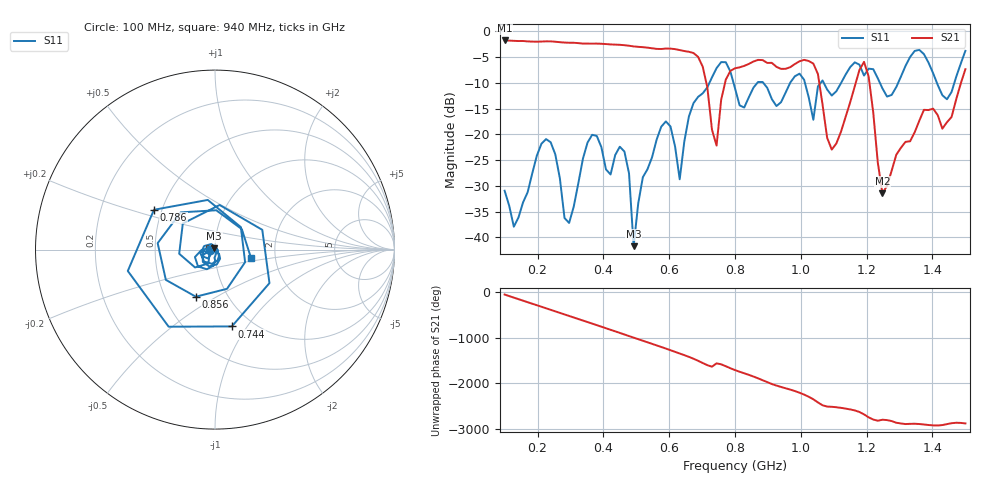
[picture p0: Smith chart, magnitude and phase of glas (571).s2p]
! NanoVNA-App
! Date: 2025-09-25 15:59:55
! Start: 100MHz Stop: 1,5GHz Points: 101
! S-Parameter data: F S11 S21 S12 S22
# Hz S RI R 50
!  Frequency  S11_Real  S11_Imag  S21_Real  S21_Imag  S12_Real  S12_Imag  S22_Real  S22_Imag
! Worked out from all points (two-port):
!   101 points, 100 MHz to 1.5 GHz, reference 50 ohm
!   highest |S21| = -1.80 dB at 100 MHz (marker M1); lowest = -31.5 dB at 1.248 GHz (marker M2)
!   |S21| within 3 dB of the highest: start of sweep to 684.4 MHz
!   lowest |S11| = -41.7 dB at 492 MHz (marker M3), VSWR 1.02, Z = 49.5 + j0.633 ohm
!   |S11| at or under -10 dB: start of sweep to 722.5 MHz; 795.4 MHz to 868.1 MHz (72.74 MHz wide, 8.75 % of centre); 885.8 MHz to 967.7 MHz (81.98 MHz wide, 8.85 % of centre) (the widest 3 of 7)
!   S12 and S22 are empty: the file has one direction only
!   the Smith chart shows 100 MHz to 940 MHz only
!   S11 on the Smith chart (normalised r, x): 100 MHz: 0.95, -0.01; 744 MHz: 0.80, -0.85; 786 MHz: 0.45, +0.24; 856 MHz: 0.71, -0.41; 940 MHz: 1.49, -0.14
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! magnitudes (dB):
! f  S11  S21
! 100 MHz  -30.9  -1.8
! 128 MHz  -37.9  -1.9
! 226 MHz  -20.9  -2.0
! 296 MHz  -37.2  -2.2
! 338 MHz  -24.7  -2.4
! 464 MHz  -23.3  -2.7
! 492 MHz  -41.7  -3.0
! 576 MHz  -18.5  -3.5
! 632 MHz  -28.7  -3.7
! 702 MHz  -12.0  -6.9
! 744 MHz  -7.2  -22.2
! 786 MHz  -7.8  -7.7
! 800 MHz  -11.1  -7.2
! 856 MHz  -11.0  -5.9
! 940 MHz  -13.8  -7.3
! 996 MHz  -8.2  -5.8
! 1.038 GHz  -17.2  -6.3
! 1.094 GHz  -12.5  -23.0
! 1.192 GHz  -8.6  -6.0
! 1.248 GHz  -11.1  -31.5
! 1.276 GHz  -12.4  -27.1
! 1.5 GHz  -3.8  -7.4
